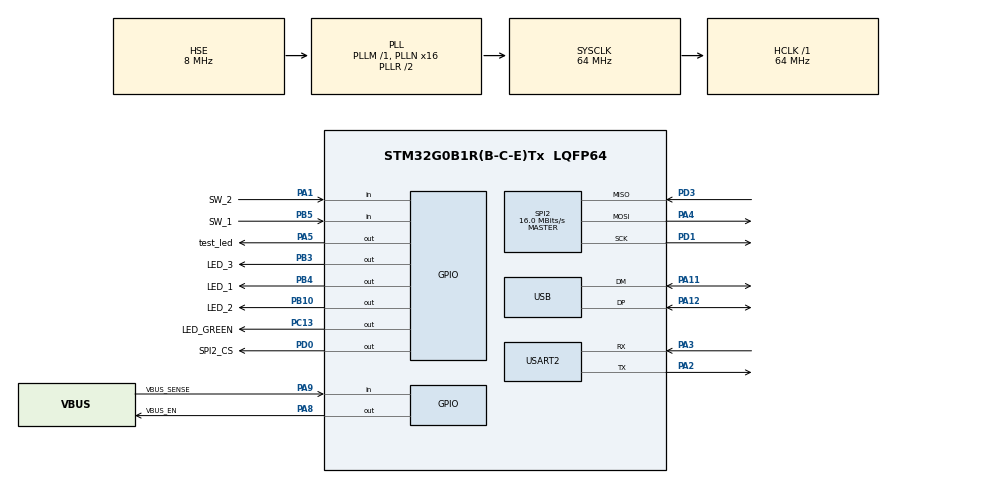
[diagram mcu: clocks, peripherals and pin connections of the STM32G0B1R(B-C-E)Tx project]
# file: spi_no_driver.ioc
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FATFS._MAX_SS=512
FATFS._MIN_SS=512
FREERTOS.Tasks01=defaultTask,24,128,StartDefaultTask,Default,NULL,Dynamic,NULL,NULL
FREERTOS.configTOTAL_HEAP_SIZE=8192
Mcu.Family=STM32G0
Mcu.Name=STM32G0B1R(B-C-E)Tx
Mcu.Package=LQFP64
NVIC.TIM6_DAC_LPTIM1_IRQn=true\:3\:0\:false\:false\:true\:false\:false\:true\:true
NVIC.TimeBase=TIM6_DAC_LPTIM1_IRQn
NVIC.TimeBaseIP=TIM6
NVIC.USB_UCPD1_2_IRQn=true\:3\:0\:false\:false\:true\:true\:true\:true\:true
PA1.GPIO_Label=SW_2
PA1.Signal=GPIO_Input
PA11\ [PA9].Mode=Device
PA11\ [PA9].Signal=USB_DM
PA12\ [PA10].Mode=Device
PA12\ [PA10].Signal=USB_DP
PA13.Mode=Serial_Wire
PA13.Signal=SYS_SWDIO
PA14-BOOT0.Mode=Serial_Wire
PA14-BOOT0.Signal=SYS_SWCLK
PA2.Mode=Asynchronous
PA2.Signal=USART2_TX
PA3.Mode=Asynchronous
PA3.Signal=USART2_RX
PA4.Mode=Full_Duplex_Master
PA4.Signal=SPI2_MOSI
PA5.GPIO_Label=test_led
PA5.Signal=GPIO_Output
PA8.GPIO_Label=VBUS_EN
PA8.Signal=GPIO_Output
PA9.GPIO_Label=VBUS_SENSE
PA9.Signal=GPIO_Input
PB10.GPIO_Label=LED_2
PB10.Signal=GPIO_Output
PB3.GPIO_Label=LED_3
PB3.Signal=GPIO_Output
PB4.GPIO_Label=LED_1
PB4.Signal=GPIO_Output
PB5.GPIO_Label=SW_1
PB5.Signal=GPIO_Input
PC13.GPIO_Label=LED_GREEN
PC13.Signal=GPIO_Output
PD0.GPIO_Label=SPI2_CS
PD0.PinState=GPIO_PIN_SET
PD0.Signal=GPIO_Output
PD1.Mode=Full_Duplex_Master
PD1.Signal=SPI2_SCK
PD3.Mode=Full_Duplex_Master
PD3.Signal=SPI2_MISO
PF0-OSC_IN\ (PF0).Mode=HSE-External-Clock-Source
PF0-OSC_IN\ (PF0).Signal=RCC_OSC_IN
ProjectManager.HeapSize=0x200
ProjectManager.StackSize=0x400
ProjectManager.TargetToolchain=Makefile
RCC.ADCFreq_Value=64000000
RCC.AHBFreq_Value=64000000
RCC.CortexFreq_Value=64000000
RCC.EXTERNAL_CLOCK_VALUE=12288000
RCC.HCLKFreq_Value=64000000
RCC.HSE_VALUE=8000000
RCC.HSI48_VALUE=48000000
RCC.HSI_VALUE=16000000
RCC.LSE_VALUE=32768
RCC.PLLN=16
RCC.PLLSourceVirtual=RCC_PLLSOURCE_HSE
RCC.SYSCLKFreq_VALUE=64000000
RCC.SYSCLKSource=RCC_SYSCLKSOURCE_PLLCLK
RCC.USBFreq_Value=48000000
RCC.VCOOutputFreq_Value=128000000
SPI2.BaudRatePrescaler=SPI_BAUDRATEPRESCALER_4
SPI2.CalculateBaudRate=16.0 MBits/s
SPI2.DataSize=SPI_DATASIZE_8BIT
SPI2.Direction=SPI_DIRECTION_2LINES
SPI2.Mode=SPI_MODE_MASTER
SPI2.VirtualType=VM_MASTER
USART2.VirtualMode-Asynchronous=VM_ASYNC
USB_DEVICE.CLASS_NAME_FS=MSC
USB_DEVICE.VirtualMode=Msc
USB_DEVICE.VirtualModeFS=Msc_FS
USB_DRD_FS.bulk_doublebuffer_enable=DISABLE
VP_FATFS_VS_Generic.Mode=User_defined
VP_FREERTOS_VS_CMSIS_V2.Mode=CMSIS_V2
VP_RCC_USB.Mode=CRS SYNC Source USB
VP_SYS_VS_DBSignals.Mode=DisableDeadBatterySignals
VP_SYS_VS_tim6.Mode=TIM6
VP_USB_DEVICE_VS_USB_DEVICE_MSC_FS.Mode=MSC_FS
board=NUCLEO-G0B1RE

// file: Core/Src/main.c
/* USER CODE BEGIN Header */
/**
  ******************************************************************************
  * @file           : main.c
  * @brief          : Main program body
  ******************************************************************************
  * @attention
  *
  * Copyright (c) 2026 STMicroelectronics.
  * All rights reserved.
  *
  * This software is licensed under terms that can be found in the LICENSE file
  * in the root directory of this software component.
  * If no LICENSE file comes with this software, it is provided AS-IS.
  *
  ******************************************************************************
  */
/* USER CODE END Header */
#include "main.h"
#include "cmsis_os.h"
#include "app_fatfs.h"
#include "spi.h"
#include "usart.h"
#include "usb_device.h"
#include "gpio.h"

/* USER CODE BEGIN Includes */
#include "app.h"
/* USER CODE END Includes */

void SystemClock_Config(void);
void MX_FREERTOS_Init(void);
/* USER CODE BEGIN PFP */
int _write(int file, char *ptr, int len);
/* USER CODE END PFP */

int main(void)
{

  /* MCU Configuration--------------------------------------------------------*/

  /* Reset of all peripherals, Initializes the Flash interface and the Systick. */
  HAL_Init();

  /* Configure the system clock */
  SystemClock_Config();

  /* Initialize all configured peripherals */
  MX_GPIO_Init();
  MX_SPI2_Init();
  MX_USART2_UART_Init();
  if (MX_FATFS_Init() != APP_OK) {
    Error_Handler();
  }
  /* USER CODE BEGIN 2 */
  App_Init();
  /* USER CODE END 2 */

  /* Init scheduler */
  osKernelInitialize();  /* Call init function for freertos objects (in cmsis_os2.c) */
  MX_FREERTOS_Init();

  /* Start scheduler */
  osKernelStart();

  /* We should never get here as control is now taken by the scheduler */

  /* Infinite loop */
  while (1)
  {

    /* USER CODE BEGIN 3 */
    App_CheckButtons();
    App_Task();
  }
  /* USER CODE END 3 */
}

void SystemClock_Config(void)
{
  RCC_OscInitTypeDef RCC_OscInitStruct = {0};
  RCC_ClkInitTypeDef RCC_ClkInitStruct = {0};
  RCC_CRSInitTypeDef pInit = {0};

  /** Configure the main internal regulator output voltage
  */
  HAL_PWREx_ControlVoltageScaling(PWR_REGULATOR_VOLTAGE_SCALE1);

  /** Initializes the RCC Oscillators according to the specified parameters
  * in the RCC_OscInitTypeDef structure.
  */
  RCC_OscInitStruct.OscillatorType = RCC_OSCILLATORTYPE_HSE|RCC_OSCILLATORTYPE_HSI48;
  RCC_OscInitStruct.HSEState = RCC_HSE_BYPASS;
  RCC_OscInitStruct.HSI48State = RCC_HSI48_ON;
  RCC_OscInitStruct.PLL.PLLState = RCC_PLL_ON;
  RCC_OscInitStruct.PLL.PLLSource = RCC_PLLSOURCE_HSE;
  RCC_OscInitStruct.PLL.PLLM = RCC_PLLM_DIV1;
  RCC_OscInitStruct.PLL.PLLN = 16;
  RCC_OscInitStruct.PLL.PLLP = RCC_PLLP_DIV2;
  RCC_OscInitStruct.PLL.PLLQ = RCC_PLLQ_DIV2;
  RCC_OscInitStruct.PLL.PLLR = RCC_PLLR_DIV2;
  if (HAL_RCC_OscConfig(&RCC_OscInitStruct) != HAL_OK)
  {
    Error_Handler();
  }

  /** Initializes the CPU, AHB and APB buses clocks
  */
  RCC_ClkInitStruct.ClockType = RCC_CLOCKTYPE_HCLK|RCC_CLOCKTYPE_SYSCLK
                              |RCC_CLOCKTYPE_PCLK1;
  RCC_ClkInitStruct.SYSCLKSource = RCC_SYSCLKSOURCE_PLLCLK;
  RCC_ClkInitStruct.AHBCLKDivider = RCC_SYSCLK_DIV1;
  RCC_ClkInitStruct.APB1CLKDivider = RCC_HCLK_DIV1;

  if (HAL_RCC_ClockConfig(&RCC_ClkInitStruct, FLASH_LATENCY_2) != HAL_OK)
  {
    Error_Handler();
  }

  /** Enable the SYSCFG APB clock
  */
  __HAL_RCC_CRS_CLK_ENABLE();

  /** Configures CRS
  */
  pInit.Prescaler = RCC_CRS_SYNC_DIV1;
  pInit.Source = RCC_CRS_SYNC_SOURCE_USB;
  pInit.Polarity = RCC_CRS_SYNC_POLARITY_RISING;
  pInit.ReloadValue = __HAL_RCC_CRS_RELOADVALUE_CALCULATE(48000000,1000);
  pInit.ErrorLimitValue = 34;
  pInit.HSI48CalibrationValue = 32;

  HAL_RCCEx_CRSConfig(&pInit);
}

/* USER CODE BEGIN 4 */

/* Overrides the weak _write() in syscalls.c, called by printf() and friends */
int _write(int file, char *ptr, int len)
{
  (void)file;

  if (HAL_UART_Transmit(&huart2, (uint8_t *)ptr, (uint16_t)len, HAL_MAX_DELAY) != HAL_OK)
  {
    return -1;
  }
  return len;
}

/* USER CODE END 4 */

void HAL_TIM_PeriodElapsedCallback(TIM_HandleTypeDef *htim)
{
  if (htim->Instance == TIM6)
  {
    HAL_IncTick();
  }
}

void Error_Handler(void)
{
  __disable_irq();
  while (1)
  {
  }
}

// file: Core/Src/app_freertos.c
/* USER CODE BEGIN Header */
/**
  ******************************************************************************
  * File Name          : app_freertos.c
  * Description        : Code for freertos applications
  ******************************************************************************
  * @attention
  *
  * Copyright (c) 2026 STMicroelectronics.
  * All rights reserved.
  *
  * This software is licensed under terms that can be found in the LICENSE file
  * in the root directory of this software component.
  * If no LICENSE file comes with this software, it is provided AS-IS.
  *
  ******************************************************************************
  */
/* USER CODE END Header */

#include "FreeRTOS.h"
#include "task.h"
#include "main.h"
#include "cmsis_os.h"

#include "usb_device.h"

/* USER CODE BEGIN Includes */
#include "app.h"
#include "usb_host.h"
#include "mode_switch.h"
/* USER CODE END Includes */

/* USER CODE BEGIN PM */
extern ApplicationTypeDef Appli_state;

/* USER CODE END PM */

/* Definitions for defaultTask */
osThreadId_t defaultTaskHandle;
const osThreadAttr_t defaultTask_attributes = {
  .name = "defaultTask",
  .priority = (osPriority_t) osPriorityNormal,
  .stack_size = 1024 * 4
};

/* USER CODE BEGIN FunctionPrototypes */

void vButtonTask(void *argument);

/* USER CODE END FunctionPrototypes */

void StartDefaultTask(void *argument);

void MX_FREERTOS_Init(void); /* (MISRA C 2004 rule 8.1) */

void MX_FREERTOS_Init(void) {

  /* Create the thread(s) */
  /* creation of defaultTask */
  defaultTaskHandle = osThreadNew(StartDefaultTask, NULL, &defaultTask_attributes);

  /* USER CODE BEGIN RTOS_EVENTS */
  /* add events, ... */
  static const osThreadAttr_t button_attr = {
      .name = "buttons",
      .stack_size = 512 * 4
  };
  osThreadNew(vButtonTask, NULL, &button_attr);
  /* USER CODE END RTOS_EVENTS */

}

void StartDefaultTask(void *argument)
{
  /* init code for USB_Device */
  MX_USB_Device_Init();
  /* USER CODE BEGIN StartDefaultTask */
  /* Infinite loop */
  for(;;)
  {
    App_Task();
    osDelay(1);
  }
  /* USER CODE END StartDefaultTask */
}

/* USER CODE BEGIN Application */
void vApplicationStackOverflowHook(TaskHandle_t xTask, char *pcTaskName)
{
    printf("STACK OVERFLOW%s\r\n", pcTaskName);
    while(1) {}
}

void vButtonTask(void *argument)
{
    for(;;)
    {
        osDelay(50);
        App_CheckButtons();
    }
}
/* USER CODE END Application */
